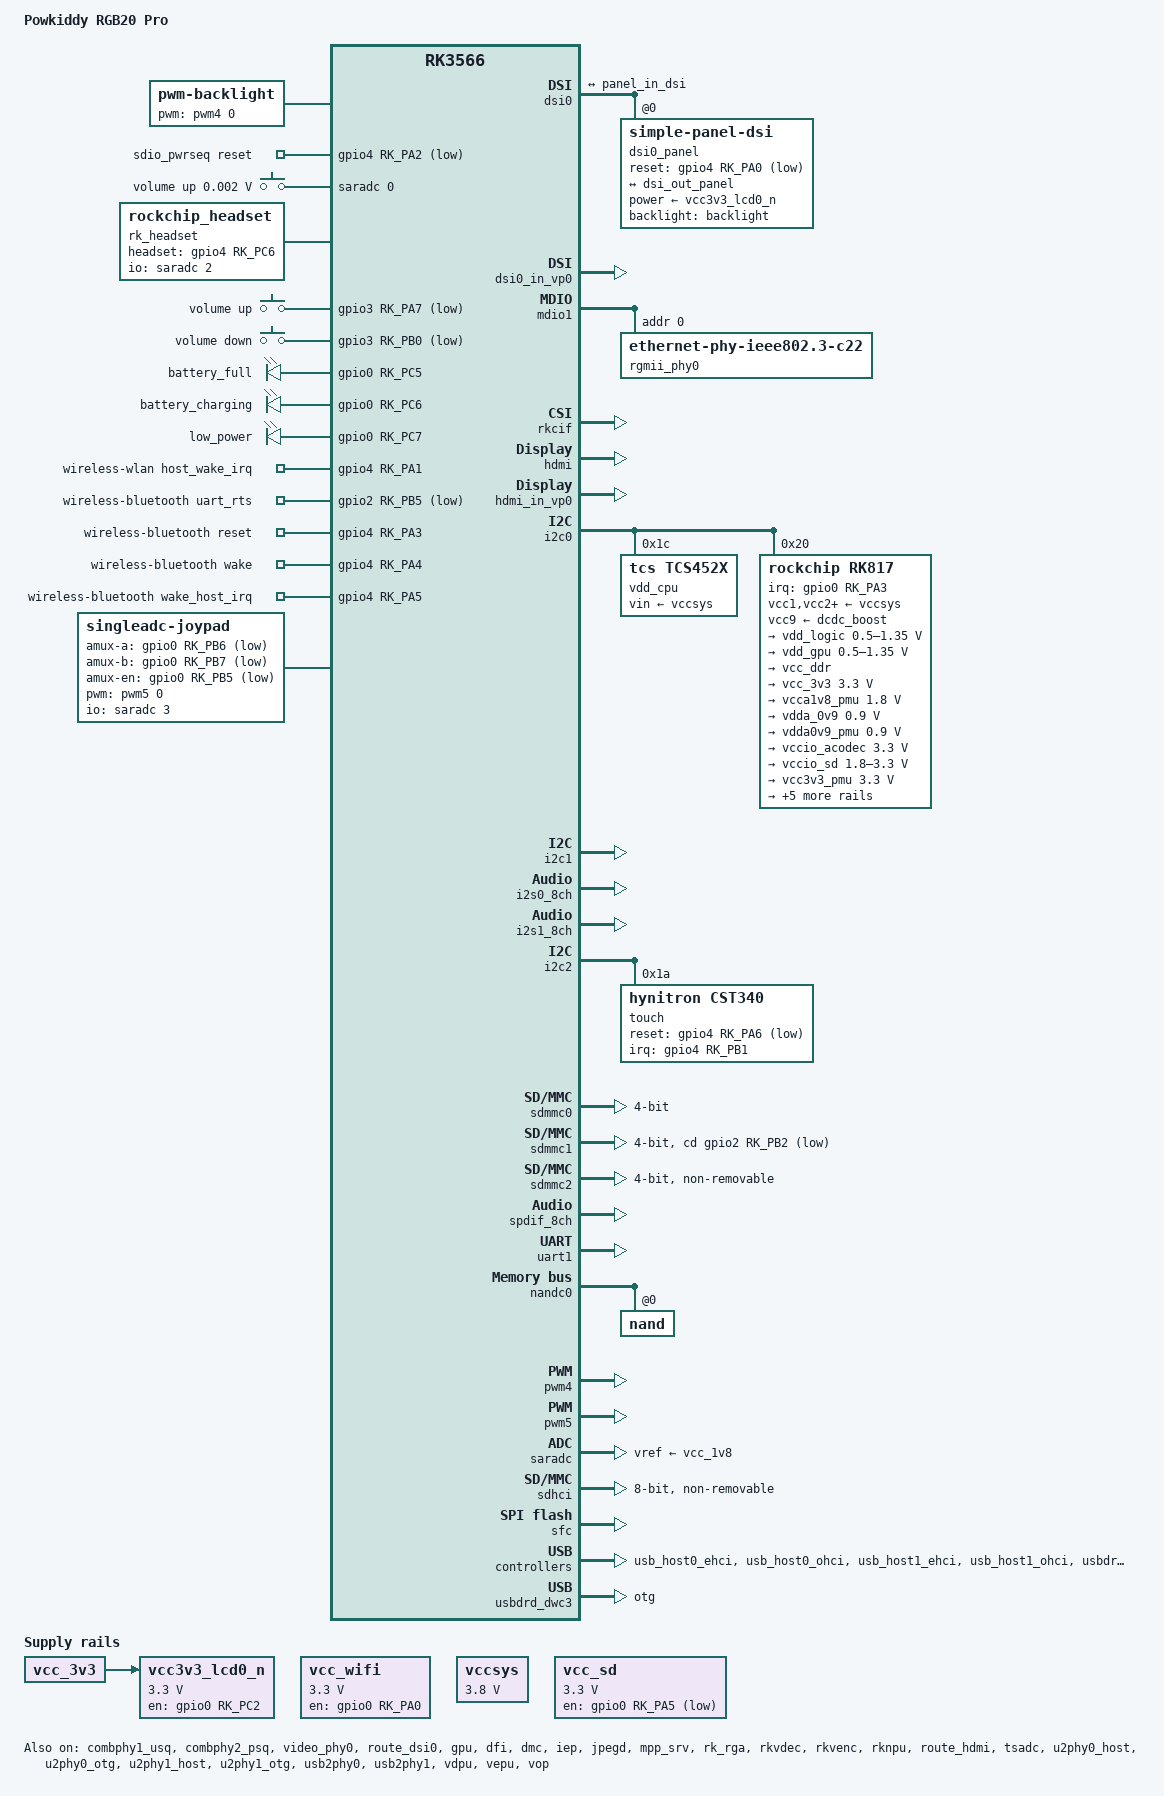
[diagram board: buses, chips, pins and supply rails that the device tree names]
// SPDX-License-Identifier: (GPL-2.0+ OR MIT)
/*
 * Copyright (c) 2020 Rockchip Electronics Co., Ltd.
 *
 */

/dts-v1/;
#include <dt-bindings/pwm/pwm.h>
#include <dt-bindings/input/rk-input.h>
#include <dt-bindings/display/drm_mipi_dsi.h>
#include <dt-bindings/sensor-dev.h>
#include <dt-bindings/gpio/gpio.h>
#include <dt-bindings/display/media-bus-format.h>
#include <dt-bindings/pinctrl/rockchip.h>
#include "rk3566.dtsi"
#include "rk3568-linux.dtsi"
/ {
	model = "Powkiddy RGB20 Pro";
	compatible = "powkiddy,rgb20-pro", "rockchip,rk3566";

	audiopwmout_diff: audiopwmout-diff {
		status = "disabled";
		compatible = "simple-audio-card";
		simple-audio-card,format = "i2s";
		simple-audio-card,name = "rockchip,audiopwmout-diff";
		simple-audio-card,mclk-fs = <256>;
		simple-audio-card,bitclock-master = <&master>;
		simple-audio-card,frame-master = <&master>;
		simple-audio-card,cpu {
			sound-dai = <&i2s3_2ch>;
		};
		master: simple-audio-card,codec {
			sound-dai = <&dig_acodec>;
		};
	};

	backlight: backlight {
		compatible = "pwm-backlight";
		pwms = <&pwm4 0 25000 0>;
		brightness-levels = <
			  0   1   2   3   4   5   6   7
			  8   9  10  11  12  13  14  15
			 16  17  18  19  20  21  22  23
			 24  25  26  27  28  29  30  31
			 32  33  34  35  36  37  38  39
			 40  41  42  43  44  45  46  47
			 48  49  50  51  52  53  54  55
			 56  57  58  59  60  61  62  63
			 64  65  66  67  68  69  70  71
			 72  73  74  75  76  77  78  79
			 80  81  82  83  84  85  86  87
			 88  89  90  91  92  93  94  95
			 96  97  98  99 100 101 102 103
			104 105 106 107 108 109 110 111
			112 113 114 115 116 117 118 119
			120 121 122 123 124 125 126 127
			128 129 130 131 132 133 134 135
			136 137 138 139 140 141 142 143
			144 145 146 147 148 149 150 151
			152 153 154 155 156 157 158 159
			160 161 162 163 164 165 166 167
			168 169 170 171 172 173 174 175
			176 177 178 179 180 181 182 183
			184 185 186 187 188 189 190 191
			192 193 194 195 196 197 198 199
			200 201 202 203 204 205 206 207
			208 209 210 211 212 213 214 215
			216 217 218 219 220 221 222 223
			224 225 226 227 228 229 230 231
			232 233 234 235 236 237 238 239
			240 241 242 243 244 245 246 247
			248 249 250 251 252 253 254 255>;
		default-brightness-level = <200>;
	};

	charge-animation {
		compatible = "rockchip,uboot-charge";
		rockchip,uboot-charge-on = <1>; 
		rockchip,android-charge-on = <0>;
		rockchip,uboot-low-power-voltage = <3450>;
		rockchip,screen-on-voltage = <3400>;
		status = "okay";
	};

	hdmi_sound: hdmi-sound {
		compatible = "simple-audio-card";
		simple-audio-card,format = "i2s";
		simple-audio-card,mclk-fs = <128>;
		simple-audio-card,name = "rockchip,hdmi";
		//status = "disabled";
		status = "okay";

		simple-audio-card,cpu {
				sound-dai = <&i2s0_8ch>;
		};
		simple-audio-card,codec {
				sound-dai = <&hdmi>;
		};
	};

	pdmics: dummy-codec {
		status = "disabled";
		compatible = "rockchip,dummy-codec";
		#sound-dai-cells = <0>;
	};

	pdm_mic_array: pdm-mic-array {
		status = "disabled";
		compatible = "simple-audio-card";
		simple-audio-card,name = "rockchip,pdm-mic-array";
		simple-audio-card,cpu {
			sound-dai = <&pdm>;
		};
		simple-audio-card,codec {
			sound-dai = <&pdmics>;
		};
	};

	vcc_wifi: vcc-wifi {
		compatible = "regulator-gpio";
		enable-active-high;
		regulator-always-on;
		regulator-boot-on;		
		enable-gpio = <&gpio0 RK_PA0 GPIO_ACTIVE_HIGH>;
		regulator-min-microvolt = <3300000>;
		regulator-max-microvolt = <3300000>;
		states = <3300000 0x0
			3300000 0x1>;
		pinctrl-names = "default";
		pinctrl-0 = <&vcc_wifi_h>;
		regulator-name = "vcc_wifi";
	};

	rk817-sound {
		status = "okay";
		compatible = "simple-audio-card";
		simple-audio-card,format = "i2s";
		simple-audio-card,name = "rockchip,rk817-codec";
		simple-audio-card,mclk-fs = <256>;

		simple-audio-card,cpu {
			sound-dai = <&i2s1_8ch>;
		};
		simple-audio-card,codec {
			sound-dai = <&rk817_codec>;
		};
	};

	spdif-sound {
		status = "disabled";
		compatible = "simple-audio-card";
		simple-audio-card,name = "ROCKCHIP,SPDIF";
		simple-audio-card,cpu {
				sound-dai = <&spdif_8ch>;
		};
		simple-audio-card,codec {
				sound-dai = <&spdif_out>;
		};
	};

	spdif_out: spdif-out {
			status = "disabled";
			compatible = "linux,spdif-dit";
			#sound-dai-cells = <0>;
	};

	vad_sound: vad-sound {
		status = "disabled";
		compatible = "rockchip,multicodecs-card";
		rockchip,card-name = "rockchip,rk3568-vad";
		rockchip,cpu = <&i2s1_8ch>;
		rockchip,codec = <&rk817_codec>, <&vad>;
	};

	vccsys: vccsys {
		compatible = "regulator-fixed";
		regulator-name = "vcc3v8_sys";
		regulator-always-on;
		regulator-boot-on;
		regulator-min-microvolt = <3800000>;
		regulator-max-microvolt = <3800000>;
	};

	vcc3v3_lcd0_n: vcc3v3-lcd0-n {
		compatible = "regulator-fixed";
		regulator-name = "vcc3v3_lcd0_n";
		regulator-boot-on;
		regulator-min-microvolt = <3300000>;
		regulator-max-microvolt = <3300000>;
		enable-active-high;
		gpio = <&gpio0 RK_PC2 GPIO_ACTIVE_HIGH>;
		vin-supply = <&vcc_3v3>;

		regulator-state-mem {
			regulator-off-in-suspend;
		};
	};

	sdio_pwrseq: sdio-pwrseq {
		status = "okay";
		compatible = "mmc-pwrseq-simple";
		clocks = <&rk817 1>;
		clock-names = "ext_clock";
		pinctrl-names = "default";
		pinctrl-0 = <&wifi_enable_h>;

		/*
		 * On the module itself this is one of these (depending
		 * on the actual card populated):
		 * - SDIO_RESET_L_WL_REG_ON
		 * - PDN (power down when low)
		 */
		post-power-on-delay-ms = <200>;
		reset-gpios = <&gpio4 RK_PA2 GPIO_ACTIVE_LOW>;
	};

	vcc_sd: vcc-sd {
		status = "okay";
		compatible = "regulator-gpio";
		enable-active-low;
		enable-gpio = <&gpio0 RK_PA5 GPIO_ACTIVE_LOW>;
		regulator-min-microvolt = <3300000>;
		regulator-max-microvolt = <3300000>;
		pinctrl-names = "default";
		pinctrl-0 = <&vcc_sd_h>;
		regulator-name = "vcc_sd";
		states = <3300000 0x0
			3300000 0x1>;
	};

	adc_keys: adc-keys {
		compatible = "adc-keys";
		io-channels = <&saradc 0>;
		io-channel-names = "buttons";
		keyup-threshold-microvolt = <1800000>;
		poll-interval = <100>;

		vol-up-key {
			label = "volume up";
			linux,code = <BTN_MODE>;
			press-threshold-microvolt = <1750>;
		};
	};

	rk_headset: rk-headset {
		compatible = "rockchip_headset";
		headset_gpio = <&gpio4 RK_PC6 GPIO_ACTIVE_HIGH>;
		pinctrl-names = "default";
		pinctrl-0 = <&hp_det>;
		io-channels = <&saradc 2>;
	};

/*	vibrator {
		compatible = "rk-vibrator-gpio";
		vibrator-gpio = <&gpio0 RK_PC4 GPIO_ACTIVE_LOW>;
		status = "okay";
	};*/

	keys: gpio-keys {
		compatible = "gpio-keys";
		pinctrl-names = "default";
		pinctrl-0 = <&pwr_key>;
		autorepeat;
		vol-up-key {
			gpios = <&gpio3 RK_PA7 GPIO_ACTIVE_LOW>;
			linux,code = <115>;
			label = "volume up";
		};

		vol-down-key {
			gpios = <&gpio3 RK_PB0 GPIO_ACTIVE_LOW>;
			linux,code = <114>;
			label = "volume down";
		};

/*		power-key {
			wakeup-source;
			gpios = <&gpio0 5 GPIO_ACTIVE_LOW>;
			linux,code = <116>;
			label = "power";
		};
*/							
			
	};

        leds: gpio-leds {
                compatible = "gpio-leds";
                pinctrl-names = "default";
                pinctrl-0 =<&leds_gpio>;

                led@1 {
                        gpios = <&gpio0 RK_PC5 GPIO_ACTIVE_HIGH>;
                        label = "battery_full";
			default-state="on";
			retain-state-suspended;
                };

                led@2 {
                        gpios = <&gpio0 RK_PC6 GPIO_ACTIVE_HIGH>;
                        label = "battery_charging";
                        default-state = "off";
                        linux,default-trigger = "battery-charging";
                        retain-state-suspended;
                };
				
                led@3 {
                        gpios = <&gpio0 RK_PC7 GPIO_ACTIVE_HIGH>;
                        label = "low_power";
			default-state="off";
			retain-state-suspended;
                };			
	};

	wireless-wlan {
		compatible = "wlan-platdata";
		rockchip,grf = <&grf>;
		wifi_chip_type = "ap6330";
		pinctrl-names = "default";
		pinctrl-0 = <&wifi_host_wake_irq>;
		WIFI,host_wake_irq = <&gpio4 RK_PA1 GPIO_ACTIVE_HIGH>;
		//WIFI,poweren_gpio = <&gpio0 RK_PA0 GPIO_ACTIVE_HIGH>; /* GPIO0_a3 */
		keep_wifi_power_on;		
		status = "okay";
	};

	wireless-bluetooth {
		compatible = "bluetooth-platdata";
		clocks = <&rk817 1>;
		clock-names = "ext_clock";
		//wifi-bt-power-toggle;
		uart_rts_gpios = <&gpio2 RK_PB5 GPIO_ACTIVE_LOW>;
		pinctrl-names = "default", "rts_gpio";
		pinctrl-0 = <&uart1m1_rtsn>;
		pinctrl-1 = <&uart1_gpios>;
		BT,reset_gpio    = <&gpio4 RK_PA3 GPIO_ACTIVE_HIGH>;
		BT,wake_gpio     = <&gpio4 RK_PA4 GPIO_ACTIVE_HIGH>;
		BT,wake_host_irq = <&gpio4 RK_PA5 GPIO_ACTIVE_HIGH>;
		status = "okay";
	};
	
	joypad: singleadc-joypad {
		compatible = "singleadc-joypad";

		joypad-name = "retrogame_joypad";
		joypad-product = <0x1101>;
		joypad-revision = <0x0100>;

		status = "okay";

		/* rumble */
		pwms = <&pwm5 0 10000 0>;

		/* gpio pincontrol setup */
		pinctrl-names = "default";
		pinctrl-0 = <&btn_pins>;

		/* Analog mux define */
		io-channel-names = "amux_adc";
		io-channels = <&saradc 3>;

		/* adc mux channel count */
		amux-count = <4>;
		/* adc mux select(a,b) gpio */
		amux-a-gpios = <&gpio0 RK_PB6 GPIO_ACTIVE_LOW>;
		amux-b-gpios = <&gpio0 RK_PB7 GPIO_ACTIVE_LOW>;
		/* adc mux enable gpio */
		amux-en-gpios = <&gpio0 RK_PB5 GPIO_ACTIVE_LOW>;

		/* adc calculate scale */
		button-adc-scale = <2>;

		/* adc deadzone range  */
		button-adc-deadzone = <48>;

		/*
		  specifies fuzz value that is used to filter noise from
		  the event stream.
		*/
		button-adc-fuzz = <16>;
		button-adc-flat = <16>;

		/*
		  Analog Stick data tuning value(precent)
		  p = positive direction, n = negative direction
		  report value = (real_adc_data * tuning_value) / 100
		*/
		abs_x-p-tuning = <250>;
		abs_x-n-tuning = <250>;

		abs_y-p-tuning = <250>;
		abs_y-n-tuning = <250>;

		abs_rx-p-tuning = <250>;
		abs_rx-n-tuning = <250>;

		abs_ry-p-tuning = <250>;
		abs_ry-n-tuning = <250>;

		/* poll device interval (ms), adc read interval */
		poll-interval = <10>;

		/* gpio button auto repeat set value : default disable */
		/*
			autorepeat;
		*/
		sw1 {
		        gpios = <&gpio3 RK_PA3 GPIO_ACTIVE_LOW>;
		        label = "GPIO DPAD-UP";
		        linux,code = <BTN_DPAD_UP>;
		};
		sw2 {
		        gpios = <&gpio3 RK_PA4 GPIO_ACTIVE_LOW>;
		        label = "GPIO DPAD-DOWN";
		        linux,code = <BTN_DPAD_DOWN>;
		};
		sw3 {
		        gpios = <&gpio3 RK_PA6 GPIO_ACTIVE_LOW>;
		        label = "GPIO DPAD-LEFT";
		        linux,code = <BTN_DPAD_LEFT>;
		};
		sw4 {
		        gpios = <&gpio3 RK_PA5 GPIO_ACTIVE_LOW>;
		        label = "GPIO DPAD-RIGHT";
		        linux,code = <BTN_DPAD_RIGHT>;
		};
		sw5 {
		        gpios = <&gpio3 RK_PC3 GPIO_ACTIVE_LOW>;
		        label = "GPIO KEY BTN-A";
		        linux,code = <BTN_SOUTH>;
		};
		sw6 {
		        gpios = <&gpio3 RK_PC2 GPIO_ACTIVE_LOW>;
		        label = "GPIO BTN-B";
		        linux,code = <BTN_EAST>;
		};
		sw7 {
		        gpios = <&gpio3 RK_PC0 GPIO_ACTIVE_LOW>;
		        label = "GPIO BTN-X";
		        linux,code = <BTN_NORTH>;
		};
		sw8 {
		        gpios = <&gpio3 RK_PC1 GPIO_ACTIVE_LOW>;
		        label = "GPIO BTN-Y";
		        linux,code = <BTN_WEST>;
		};
		sw9 {
		        gpios = <&gpio3 RK_PB6 GPIO_ACTIVE_LOW>;
		        label = "GPIO BTN_SELECT";
		        linux,code = <BTN_SELECT>;
		};
		sw10 {
		        gpios = <&gpio3 RK_PB5 GPIO_ACTIVE_LOW>;
		        label = "GPIO BTN_START";
		        linux,code = <BTN_START>;
		};
		sw11 {
		        gpios = <&gpio3 RK_PB7 GPIO_ACTIVE_LOW>;
		        label = "GPIO BTN_F";
		        linux,code = <BTN_MODE>;
		};
		sw12 {
		        gpios = <&gpio3 RK_PB1 GPIO_ACTIVE_LOW>;
		        label = "GPIO BTN_TL";
		        linux,code = <BTN_TL>;
		};
		sw13 {
		        gpios = <&gpio3 RK_PB4 GPIO_ACTIVE_LOW>;
		        label = "GPIO BTN_TR2";
		        linux,code = <BTN_TR2>;
		};
		sw14 {
		        gpios = <&gpio3 RK_PB2 GPIO_ACTIVE_LOW>;
		        label = "GPIO BTN_TL2";
		        linux,code = <BTN_TL2>;
		};
		sw15 {
		        gpios = <&gpio3 RK_PB3 GPIO_ACTIVE_LOW>;
		        label = "GPIO BTN_TR";
		        linux,code = <BTN_TR>;
		};
		sw16 {
		        gpios = <&gpio3 RK_PA1 GPIO_ACTIVE_LOW>;
		        label = "GPIO BTN_THUMBL";
		        linux,code = <BTN_THUMBL>;
		};
		sw17 {
		        gpios = <&gpio3 RK_PA2 GPIO_ACTIVE_LOW>;
		        label = "GPIO BTN_THUMBR";
		        linux,code = <BTN_THUMBR>;
		};
	
    	};

	es8316-sound {
		status = "disabled";
		compatible = "simple-audio-card";
		simple-audio-card,format = "i2s";
		simple-audio-card,name = "ES8316";
		simple-audio-card,mclk-fs = <256>;
		simple-audio-card,widgets =
			"Microphone", "Mic Jack",
			"Headphone", "Headphone Jack";
		simple-audio-card,routing =
			"Mic Jack", "MICBIAS1",
			"IN1P", "Mic Jack",
			"Headphone Jack", "HPOL",
			"Headphone Jack", "HPOR";
		simple-audio-card,cpu {
			sound-dai = <&i2s1_8ch>;
			system-clock-frequency = <11289600>;
		};
		simple-audio-card,codec {
			sound-dai = <&es8316>;
			system-clock-frequency = <11289600>;
		};
	};
};

&combphy1_usq {
	status = "okay";
};

&combphy2_psq {
	status = "okay";
};

&csi2_dphy_hw {
	status = "disabled";
};

&csi2_dphy0 {
	status = "disabled";
};

&csi2_dphy1 {
	status = "disabled";
};

&csi2_dphy2 {
	status = "disabled";
};

/*
 * mipi_dphy0 needs to be enabled
 * when dsi0 is enabled
 */
&dsi0 {
	status = "okay";
	//rockchip,lane-rate = <1000>;
	dsi0_panel: panel@0 {
		status = "okay";
		compatible = "simple-panel-dsi";
		reg = <0>;
		backlight = <&backlight>;
		//power-supply = <&vcc_lcd>;
		//gpio = <&gpio0 RK_PC2 GPIO_ACTIVE_HIGH>;
		//reset-gpios = <&gpio0 RK_PA6 GPIO_ACTIVE_LOW>;
		reset-delay-ms = <150>;
		init-delay-ms = <36>; 
		enable-delay-ms = <36>;
		prepare-delay-ms = <200>;
		unprepare-delay-ms = <36>;
		disable-delay-ms = <50>;
		dsi,flags = <(MIPI_DSI_MODE_VIDEO           |
			      MIPI_DSI_MODE_VIDEO_BURST     |
			      MIPI_DSI_MODE_LPM             |
			      MIPI_DSI_MODE_EOT_PACKET)>;
		dsi,format = <MIPI_DSI_FMT_RGB888>;
		dsi,lanes  = <4>;
		panel-init-sequence = [
            39 00 04 df 91
            68 f9 39 00 02
            de 00 39 00 03
            b2 00 7e 39 00
            03 b3 00 7e 39
            00 07 c1 00 10
            00 00 00 00 39
            00 08 bb 02 24
            07 61 19 44 44
            39 00 03 be 1a
            f2 39 00 0f c3
            10 17 5a 17 5a
            05 05 05 05 15
            15 31 05 df 39
            00 08 c4 11 80
            00 df 09 06 14
            39 00 18 ce 00
            03 03 03 03 03
            03 03 03 03 03
            03 03 03 03 03
            03 03 03 03 03
            0f 03 39 00 0a
            cf 00 01 40 01
            ca 01 ca 01 ca
            39 00 18 d0 00
            1f 1f 1f 1f 1f
            1f 1f 1f 1f 1f
            03 01 05 07 09
            0b 1e 15 1f 1f
            15 1f 39 00 18
            d1 00 1f 1f 1f
            1f 1f 1f 1f 1f
            1f 1f 02 00 04
            06 08 0a 1e 15
            1f 1f 15 1f 39
            00 18 d2 00 1f
            1f 1f 1f 1f 1f
            1f 1f 1f 1f 00
            02 0a 08 06 04
            1f 15 1f 1f 15
            1e 39 00 18 d3
            00 1f 1f 1f 1f
            1f 1f 1f 1f 1f
            1f 01 03 0b 09
            07 05 1f 15 1f
            1f 15 1e 39 00
            26 d4 30 00 00
            04 00 06 00 00
            00 00 00 03 03
            00 11 00 01 c0
            04 01 01 11 80
            01 c0 05 01 01
            00 00 00 04 00
            06 18 02 e3 39
            00 09 d5 68 73
            00 08 08 00 03
            00 39 00 07 b7
            00 d8 00 00 d8
            00 39 00 27 c8
            7f 69 5a 4e 4a
            3b 40 2a 44 43
            44 63 51 59 4c
            48 3a 28 0f 7f
            69 5a 4e 4a 3b
            40 2a 44 43 44
            63 51 59 4c 48
            3a 28 0f 39 00
            02 de 02 39 00
            05 bb 00 5b 5c
            41 39 00 04 b5
            00 5a 0a 39 00
            02 c6 22 39 00
            02 d7 12 39 00
            02 de 00 39 00
            02 35 00 05 fa
            01 11 05 fa 01
            29
		];

		panel-exit-sequence = [
			05 14 01 28
			05 0A 01 10
		];

		disp_timings0: display-timings {
			native-mode = <&dsi0_timing0>;
			dsi0_timing0: timing0 {
				clock-frequency = <51072000>;
				hactive = <1024>;
				vactive = <768>;
				hfront-porch = <20>;
				hsync-len = <4>;
				hback-porch = <20>;
				vfront-porch = <15>;
				vsync-len = <3>;
				vback-porch = <11>;			
				hsync-active = <0>;
				vsync-active = <0>;
				de-active = <0>;
				pixelclk-active = <0>;
			};
		};

		ports {
			#address-cells = <1>;
			#size-cells = <0>;

			port@0 {
				reg = <0>;
				panel_in_dsi: endpoint {
					remote-endpoint = <&dsi_out_panel>;
				};
			};
		};
	};

	ports {
		#address-cells = <1>;
		#size-cells = <0>;

		port@1 {
			reg = <1>;
			dsi_out_panel: endpoint {
				remote-endpoint = <&panel_in_dsi>;
			};
		};
	};
};


&dsi0_in_vp0 {
	status = "okay";
};

&dsi0_in_vp1 {
	status = "disabled";
};

&dsi0_panel {
	power-supply = <&vcc3v3_lcd0_n>;
	reset-gpios = <&gpio4 RK_PA0 GPIO_ACTIVE_LOW>;
	pinctrl-names = "default";
	pinctrl-0 = <&lcd0_rst_gpio>;
};


/*
 * mipi_dphy1 needs to be enabled
 * when dsi1 is enabled
 */
&dsi1 {
	status = "disabled";
};

&dsi1_in_vp0 {
	status = "disabled";
};

&dsi1_in_vp1 {
	status = "disabled";
};

&mdio1 {
	rgmii_phy0: phy@0 {
		compatible = "ethernet-phy-ieee802.3-c22";
		reg = <0x0>;
	};
};

&video_phy0 {
	status = "okay";
};

&video_phy1 {
	status = "disabled";
};

&rkcif {
	status = "okay";
};

&rkcif_dvp {
	status = "disabled";

	port {
		/* Parallel bus endpoint */
		dvp_in_bcam: endpoint {
			remote-endpoint = <&gc2145_out>;
			bus-width = <8>;
			vsync-active = <0>;
			hsync-active = <1>;
		};
	};
};

&route_dsi0 {
	status = "okay";
	connect = <&vp0_out_dsi0>;
};

&gpu {
	mali-supply = <&vdd_gpu>;
	mem-supply = <&vdd_gpu>;
	status = "okay";
	operating-points-v2 = <&gpu_opp_table>;
};

&hdmi {
	status = "okay";
	//status = "disabled";
	rockchip,phy-table =
		<92812500  0x8009 0x0000 0x0270>,
		<165000000 0x800b 0x0000 0x026d>,
		<185625000 0x800b 0x0000 0x01ed>,
		<297000000 0x800b 0x0000 0x01ad>,
		<594000000 0x8029 0x0000 0x0088>,
		<000000000 0x0000 0x0000 0x0000>;
};

&hdmi_in_vp0 {
	status = "okay";
};

&hdmi_in_vp1 {
	status = "disabled";
};

&hdmi_sound {
	status = "okay";
	//status = "disabled";
};

&i2c0 {
	status = "okay";

	/*cw2015@62 { 
	  compatible = "cellwise,cw2015";
	  reg = <0x62>;
	 };*/

	vdd_cpu: tcs4525@1c {
		compatible = "tcs,tcs452x";
		reg = <0x1c>;
		vin-supply = <&vccsys>;
		regulator-compatible = "fan53555-reg";
		regulator-name = "vdd_cpu";
		regulator-min-microvolt = <712500>;
		regulator-max-microvolt = <1390000>;
		regulator-init-microvolt = <900000>;
		regulator-ramp-delay = <2300>;
		fcs,suspend-voltage-selector = <1>;
		regulator-boot-on;
		regulator-always-on;
		regulator-state-mem {
			regulator-off-in-suspend;
		};
	};

	rk817: pmic@20 {
		compatible = "rockchip,rk817";
		reg = <0x20>;
		interrupt-parent = <&gpio0>;
		interrupts = <RK_PA3 IRQ_TYPE_LEVEL_LOW>;

		pinctrl-names = "default", "pmic-sleep",
				"pmic-power-off", "pmic-reset";
		pinctrl-0 = <&pmic_int>;
		pinctrl-1 = <&soc_slppin_slp>, <&rk817_slppin_slp>;
		pinctrl-2 = <&soc_slppin_gpio>, <&rk817_slppin_pwrdn>;
		pinctrl-3 = <&soc_slppin_gpio>, <&rk817_slppin_rst>;

		rockchip,system-power-controller;
		wakeup-source;
		#clock-cells = <1>;
		clock-output-names = "rk808-clkout1", "rk808-clkout2";
		//fb-inner-reg-idxs = <2>;
		/* 1: rst regs (default in codes), 0: rst the pmic */
		pmic-reset-func = <0>;
		/* not save the PMIC_POWER_EN register in uboot */
		not-save-power-en = <1>;

		vcc1-supply = <&vccsys>;
		vcc2-supply = <&vccsys>;
		vcc3-supply = <&vccsys>;
		vcc4-supply = <&vccsys>;
		vcc5-supply = <&vccsys>;
		vcc6-supply = <&vccsys>;
		vcc7-supply = <&vccsys>;
		vcc8-supply = <&vccsys>;
		vcc9-supply = <&dcdc_boost>;

		pwrkey {
			status = "okay";
		};

		pinctrl_rk8xx: pinctrl_rk8xx {
			gpio-controller;
			#gpio-cells = <2>;

			rk817_slppin_null: rk817_slppin_null {
				pins = "gpio_slp";
				function = "pin_fun0";
			};

			rk817_slppin_slp: rk817_slppin_slp {
				pins = "gpio_slp";
				function = "pin_fun1";
			};

			rk817_slppin_pwrdn: rk817_slppin_pwrdn {
				pins = "gpio_slp";
				function = "pin_fun2";
			};

			rk817_slppin_rst: rk817_slppin_rst {
				pins = "gpio_slp";
				function = "pin_fun3";
			};
		};

		regulators {
			vdd_logic: DCDC_REG1 {
				regulator-always-on;
				regulator-boot-on;
				regulator-min-microvolt = <500000>;
				regulator-max-microvolt = <1350000>;
				regulator-init-microvolt = <900000>;
				regulator-ramp-delay = <6001>;
				regulator-initial-mode = <0x2>;
				regulator-name = "vdd_logic";
				regulator-state-mem {
					regulator-off-in-suspend;
					regulator-suspend-microvolt = <900000>;
				};
			};

			vdd_gpu: DCDC_REG2 {
				regulator-always-on;
				regulator-boot-on;
				regulator-min-microvolt = <500000>;
				regulator-max-microvolt = <1350000>;
				//regulator-init-microvolt = <900000>;
				regulator-ramp-delay = <6001>;
				regulator-initial-mode = <0x2>;
				regulator-name = "vdd_gpu";
				regulator-state-mem {
					regulator-off-in-suspend;
				};
			};

			vcc_ddr: DCDC_REG3 {
				regulator-always-on;
				regulator-boot-on;
				regulator-initial-mode = <0x2>;
				regulator-name = "vcc_ddr";
				regulator-state-mem {
					regulator-on-in-suspend;
				};
			};

			vcc_3v3: DCDC_REG4 {
				regulator-always-on;
				regulator-boot-on;
				regulator-min-microvolt = <3300000>;
				regulator-max-microvolt = <3300000>;
				regulator-initial-mode = <0x2>;
				regulator-name = "vcc_3v3";
				regulator-state-mem {
					regulator-on-in-suspend;
					regulator-suspend-microvolt = <3300000>;
				};
			};

			vcca1v8_pmu: LDO_REG1 {
				regulator-always-on;
				regulator-boot-on;
				regulator-min-microvolt = <1800000>;
				regulator-max-microvolt = <1800000>;
				regulator-name = "vcca1v8_pmu";
				regulator-state-mem {
					regulator-on-in-suspend;
					regulator-suspend-microvolt = <1800000>;
				};
			};

			vdda_0v9: LDO_REG2 {
				regulator-always-on;
				regulator-boot-on;
				regulator-min-microvolt = <900000>;
				regulator-max-microvolt = <900000>;
				regulator-name = "vdda_0v9";
				regulator-state-mem {
					regulator-off-in-suspend;
				};
			};

			vdda0v9_pmu: LDO_REG3 {
				regulator-always-on;
				regulator-boot-on;
				regulator-min-microvolt = <900000>;
				regulator-max-microvolt = <900000>;
				regulator-name = "vdda0v9_pmu";
				regulator-state-mem {
					regulator-on-in-suspend;
					regulator-suspend-microvolt = <900000>;
				};
			};

			vccio_acodec: LDO_REG4 {
				regulator-always-on;
				regulator-boot-on;
				regulator-min-microvolt = <3300000>;
				regulator-max-microvolt = <3300000>;
				regulator-name = "vccio_acodec";
				regulator-state-mem {
					regulator-off-in-suspend;
				};
			};

			vccio_sd: LDO_REG5 {
				regulator-always-on;
				regulator-boot-on;
				regulator-min-microvolt = <1800000>;
				regulator-max-microvolt = <3300000>;
				regulator-name = "vccio_sd";
				regulator-state-mem {
					regulator-off-in-suspend;
				};
			};

			vcc3v3_pmu: LDO_REG6 {
				regulator-always-on;
				regulator-boot-on;
				regulator-min-microvolt = <3300000>;
				regulator-max-microvolt = <3300000>;
				regulator-name = "vcc3v3_pmu";
				regulator-state-mem {
					regulator-on-in-suspend;
					regulator-suspend-microvolt = <3000000>;
				};
			};

			vcc_1v8: LDO_REG7 {
				regulator-always-on;
				regulator-boot-on;
				regulator-min-microvolt = <1800000>;
				regulator-max-microvolt = <1800000>;
				regulator-name = "vcc_1v8";
				regulator-state-mem {
					regulator-off-in-suspend;
				};
			};

			vcc1v8_dvp: LDO_REG8 {
				regulator-always-on;
				regulator-boot-on;
				regulator-min-microvolt = <1800000>;
				regulator-max-microvolt = <3300000>;
				regulator-name = "vcc1v8_dvp";
				regulator-state-mem {
					regulator-off-in-suspend;
				};
			};

			vcc2v8_dvp: LDO_REG9 {
				regulator-always-on;
				regulator-boot-on;
				regulator-min-microvolt = <2800000>;
				regulator-max-microvolt = <2800000>;
				regulator-name = "vcc2v8_dvp";
				regulator-state-mem {
					regulator-off-in-suspend;
				};
			};

			dcdc_boost: BOOST {
				regulator-always-on;
				regulator-boot-on;
				regulator-min-microvolt = <4700000>;
				regulator-max-microvolt = <5400000>;
				regulator-name = "boost";
				regulator-state-mem {
					regulator-off-in-suspend;
				};
			};

			otg_switch: OTG_SWITCH {
				regulator-name = "otg_switch";
				regulator-state-mem {
					regulator-off-in-suspend;
				};
			};

		};

		battery {
		   compatible = "rk817,battery";
		   ocv_table = <3400 3438 3479 3519 3550 3578 3598
				3613 3629 3647 3672 3713 3762 3807
				3852 3895 3939 3990 4035 4092 4172>;
		   design_capacity = <3151>;
		   design_qmax = <3465>;
		   bat_res = <117>;
		   sleep_enter_current = <300>;
		   sleep_exit_current = <300>;
		   sleep_filter_current = <100>;
		   power_off_thresd = <3400>;
		   zero_algorithm_vol = <3850>;
		   max_soc_offset = <60>;
		   monitor_sec = <5>;
		   sample_res = <10>;
		   virtual_power = <0>;
		};

		charger {
			compatible = "rk817,charger";
			min_input_voltage = <4500>;
			max_input_current = <1500>;
			max_chrg_current = <2000>;
			max_chrg_voltage = <4250>;
			chrg_term_mode = <0>;
			chrg_finish_cur = <300>;
			virtual_power = <0>;
			dc_det_adc = <0>;
			extcon = <&usb2phy0>;
		};

		rk817_codec: codec {
			#sound-dai-cells = <0>;
			compatible = "rockchip,rk817-codec";
			clocks = <&cru I2S1_MCLKOUT>;
			clock-names = "mclk";
			assigned-clocks = <&cru I2S1_MCLKOUT>, <&cru I2S1_MCLK_TX_IOE>;
			assigned-clock-rates = <12288000>;
			assigned-clock-parents = <&cru I2S1_MCLKOUT_TX>, <&cru I2S1_MCLKOUT_TX>;
			pinctrl-names = "default";
			pinctrl-0 = <&i2s1m0_mclk>;
			hp-volume = <20>;
			spk-volume = <3>;
			out-l2spk-r2hp;
			
			spk-ctl-gpios = <&gpio4 RK_PC2 GPIO_ACTIVE_HIGH>;
			status = "okay";
		};
	};
	es8316: es8316@10 {
	        status = "disabled";
		#sound-dai-cells = <0>;
		compatible = "everest,es8316";
		reg = <0x10>;
		clocks = <&cru I2S1_MCLKOUT>;
		clock-names = "mclk";
		assigned-clocks = <&cru I2S1_MCLKOUT>, <&cru I2S1_MCLK_TX_IOE>;
		assigned-clock-rates = <11289600>;
		assigned-clock-parents = <&cru I2S1_MCLKOUT_TX>, <&cru I2S1_MCLKOUT_TX>;
		pinctrl-names = "default";
		pinctrl-0 = <&i2s1m0_mclk>;
		hp-det-gpio = <&gpio4 RK_PC6 GPIO_ACTIVE_HIGH>;		
		spk-con-gpio = <&gpio4 RK_PC2 GPIO_ACTIVE_HIGH>;
	};
};

&i2c1 {
	status = "okay";
};

&i2c5 {
	status = "disabled";
};

&i2s0_8ch {
	status = "okay";
};

&i2s1_8ch {
	status = "okay";
	rockchip,clk-trcm = <1>;
	pinctrl-names = "default";
	pinctrl-0 = <&i2s1m0_sclktx
		     &i2s1m0_lrcktx
		     &i2s1m0_sdi0
		     &i2s1m0_sdo0>;
};

/*&i2c2 {
 status = "okay";
 pinctrl-0 = <&i2c2m1_xfer>;
};*/

&i2c2 {
	pintctrl-names = "default";
	pinctrl-0 = <&i2c2m1_xfer>;
	status = "okay";

	touch@1a {
		compatible = "hynitron,cst340";
		reg = <0x1a>;
		interrupt-parent = <&gpio4>;
		interrupts = <RK_PB1 IRQ_TYPE_EDGE_FALLING>;
		pinctrl-0 = <&touch_gpio>;
		pinctrl-names = "default";
		reset-gpios = <&gpio4 RK_PA6 GPIO_ACTIVE_LOW>;
		touchscreen-size-x = <640>;
		touchscreen-size-y = <480>;
	};
};

&i2c4 {
	/* i2c4 sda conflict with camera pwdn */
	status = "disabled";

	/*
	 * gc2145 needs to be disabled,
	 * when gmac1 is enabled;
	 * pinctrl conflicts;
	 */
	gc2145: gc2145@3c {
		status = "disabled";
		compatible = "galaxycore,gc2145";
		reg = <0x3c>;
		clocks = <&cru CLK_CIF_OUT>;
		clock-names = "xvclk";
		power-domains = <&power RK3568_PD_VI>;
		pinctrl-names = "default";
		/* conflict with gmac1m1_rgmii_pins & cif_clk*/
		pinctrl-0 = <&cif_clk &cif_dvp_clk &cif_dvp_bus16>;

		/*avdd-supply = <&vcc2v8_dvp>;*/
		/*dovdd-supply = <&vcc1v8_dvp>;*/
		/*dvdd-supply = <&vcc1v8_dvp>;*/

		/*reset-gpios = <&gpio3 RK_PB5 GPIO_ACTIVE_LOW>;*/
		pwdn-gpios = <&gpio4 RK_PA6 GPIO_ACTIVE_HIGH>;
		rockchip,camera-module-index = <0>;
		rockchip,camera-module-facing = "back";
		rockchip,camera-module-name = "CameraKing";
		rockchip,camera-module-lens-name = "Largan";
		port {
			gc2145_out: endpoint {
				remote-endpoint = <&dvp_in_bcam>;
			};
		};
	};
};

&sdmmc0 {
	//clock-frequency = <50000000>;
	max-frequency = <150000000>;
	supports-sd;
	bus-width = <4>;
	disable-wp;
	cap-mmc-highspeed;
	cap-sd-highspeed;	
	sd-uhs-sdr12;
	sd-uhs-sdr25;
	sd-uhs-sdr50;
	sd-uhs-sdr104;
	vqmmc-supply = <&vccio_sd>;
	pinctrl-names = "default";
	pinctrl-0 = <&sdmmc0_bus4 &sdmmc0_clk &sdmmc0_cmd &sdmmc0_det>;
	status = "okay";
};

&sdmmc1 {
	max-frequency = <150000000>;
	supports-sd;
	bus-width = <4>;
	disable-wp;
	cap-mmc-highspeed;
	cap-sd-highspeed;
	keep-power-in-suspend;	
//	mmc-pwrseq = <&sdio_pwrseq>;
//	non-removable;
	card-detect-delay = <800>;
	cd-gpios = <&gpio2 RK_PB2 GPIO_ACTIVE_LOW>; /*[> CD GPIO <]*/
	vqmmc-supply = <&vcc1v8_dvp>;	
	pinctrl-names = "default";
	pinctrl-0 = <&sdmmc1_bus4 &sdmmc1_cmd &sdmmc1_clk>;
	sd-uhs-sdr12;
	sd-uhs-sdr25;
	sd-uhs-sdr50;
	sd-uhs-sdr104;
//	rockchip,default-sample-phase = <90>;
	status = "okay";
};

&sdmmc2 {
	max-frequency = <100000000>;
	supports-sdio;
	bus-width = <4>;
	disable-wp;
	cap-sd-highspeed;
	cap-sdio-irq;
	keep-power-in-suspend;
	mmc-pwrseq = <&sdio_pwrseq>;
	non-removable;
	pinctrl-names = "default";
	pinctrl-0 = <&sdmmc2m0_bus4 &sdmmc2m0_cmd &sdmmc2m0_clk>;
	sd-uhs-sdr104;
	rockchip,default-sample-phase = <90>;
	status = "okay";
};

&spdif_8ch {
	status = "okay";
	pinctrl-names = "default";
	pinctrl-0 = <&spdifm1_tx>;
};

&uart1 {
	status = "okay";
	pinctrl-names = "default";
	pinctrl-0 = <&uart1m1_xfer &uart1m1_ctsn>;
};

&can0 {
	assigned-clocks = <&cru CLK_CAN0>;
	assigned-clock-rates = <150000000>;
	pinctrl-names = "default";
	pinctrl-0 = <&can0m1_pins>;
	status = "disabled";
};

&can1 {
	assigned-clocks = <&cru CLK_CAN1>;
	assigned-clock-rates = <150000000>;
	pinctrl-names = "default";
	pinctrl-0 = <&can1m1_pins>;
	status = "disabled";
};

&can2 {
	assigned-clocks = <&cru CLK_CAN2>;
	assigned-clock-rates = <150000000>;
	pinctrl-names = "default";
	pinctrl-0 = <&can2m1_pins>;
	status = "disabled";
};

&cpu0 {
	cpu-supply = <&vdd_cpu>;
};

&cpu1 {
	cpu-supply = <&vdd_cpu>;
};

&cpu2 {
	cpu-supply = <&vdd_cpu>;
};

&cpu3 {
	cpu-supply = <&vdd_cpu>;
};

&dfi {
	status = "okay";
};

&dmc {
	operating-points-v2 = <&dmc_opp_table>;
	center-supply = <&vdd_logic>;
	status = "okay";
};

&iep {
	status = "okay";
};

&iep_mmu {
	status = "okay";
};

&jpegd {
	status = "okay";
};

&jpegd_mmu {
	status = "okay";
};

&mpp_srv {
	status = "okay";
};

&nandc0 {
	#address-cells = <1>;
	#size-cells = <0>;
	status = "okay";

	nand@0 {
		reg = <0>;
		nand-bus-width = <8>;
		nand-ecc-mode = "hw";
		nand-ecc-strength = <16>;
		nand-ecc-step-size = <1024>;
	};
};

&pmu_io_domains {
	status = "okay";
	pmuio1-supply = <&vcc3v3_pmu>;
	pmuio2-supply = <&vcc3v3_pmu>;
	vccio1-supply = <&vccio_acodec>;
	vccio3-supply = <&vccio_sd>;
	vccio4-supply = <&vcc_1v8>;
	vccio5-supply = <&vcc_3v3>;
	vccio6-supply = <&vcc_1v8>;
	vccio7-supply = <&vcc_3v3>;
};

&pwm4 {
	status = "okay";
};

&pwm5 {
	status = "okay";
};

&rk_rga {
	status = "okay";
};

&rkvdec {
	status = "okay";
};

&rkvdec_mmu {
	status = "okay";
};

&rkvenc {
	venc-supply = <&vdd_logic>;
	status = "okay";
};

&rkvenc_mmu {
	status = "okay";
};

&rknpu {
	rknpu-supply = <&vdd_gpu>;
	status = "okay";
};

&rknpu_mmu {
	status = "okay";
};

&route_hdmi {
	status = "okay";
	connect = <&vp0_out_hdmi>;
};

&saradc {
	status = "okay";
	vref-supply = <&vcc_1v8>;
};

&sdhci {
	bus-width = <8>;
	supports-emmc;
	non-removable;
	max-frequency = <200000000>;
	status = "okay";
};

&sfc {
	status = "okay";
};

&tsadc {
	status = "okay";
};

&u2phy0_host {
//	phy-supply = <&vcc5v0_host>;
	status = "okay";
};

&u2phy0_otg {
//	vbus-supply = <&vcc5v0_otg>;
	status = "okay";
};

&u2phy1_host {
//	phy-supply = <&vcc5v0_host>;
	status = "okay";
};

&u2phy1_otg {
//	phy-supply = <&vcc5v0_host>;
	status = "okay";
};

&usb2phy0 {
	status = "okay";
};

&usb2phy1 {
	status = "okay";
};

&usb_host0_ehci {
	status = "okay";
};

&usb_host0_ohci {
	status = "okay";
};

&usb_host1_ehci {
	status = "okay";
};

&usb_host1_ohci {
	status = "okay";
};

&usbdrd_dwc3 {
	dr_mode = "otg";
	extcon = <&usb2phy0>;
	status = "okay";
};

&usbdrd30 {
	status = "okay";
};

&usbhost_dwc3 {
	status = "okay";
};

&usbhost30 {
	status = "okay";
};

&vad {
	rockchip,audio-src = <&i2s1_8ch>;
	rockchip,buffer-time-ms = <128>;
	rockchip,det-channel = <0>;
	rockchip,mode = <0>;
};

&vdpu {
	status = "okay";
};

&vdpu_mmu {
	status = "okay";
};

&vepu {
	status = "okay";
};

&vepu_mmu {
	status = "okay";
};

&vop {
	status = "okay";
	assigned-clocks = <&cru DCLK_VOP0>, <&cru DCLK_VOP1>;
	assigned-clock-parents = <&pmucru PLL_HPLL>, <&cru PLL_VPLL>;
};

&vop_mmu {
	status = "okay";
};

&pinctrl {
	
	headphone {
		hp_det: hp-det {
			rockchip,pins = <4 RK_PC6 RK_FUNC_GPIO &pcfg_pull_none>;
		};
	};

	sdio-pwrseq {
		wifi_enable_h: wifi-enable-h {
			rockchip,pins = <4 RK_PA2 RK_FUNC_GPIO &pcfg_pull_none>;
		};
	};

	power-wlan-bt {
		vcc_wifi_h: vcc-wifi-h {
			rockchip,pins = <0 RK_PA0 RK_FUNC_GPIO &pcfg_pull_none>;
		};
	};
	
	wireless-wlan {
		wifi_host_wake_irq: wifi-host-wake-irq {
			rockchip,pins = <4 RK_PA1 RK_FUNC_GPIO &pcfg_pull_down>;
		};
	};

	wireless-bluetooth {
		uart1_gpios: uart1-gpios {
			rockchip,pins = <4 RK_PB6 RK_FUNC_GPIO &pcfg_pull_none>;
		};
	};

        gpio-leds {
		leds_gpio: leds-gpio {
			rockchip,pins =
				<0 RK_PC5 RK_FUNC_GPIO &pcfg_pull_none>,
				<0 RK_PC6 RK_FUNC_GPIO &pcfg_pull_none>,
				<0 RK_PC7 RK_FUNC_GPIO &pcfg_pull_none>;
		};
	};

	lcd0 {
		lcd0_rst_gpio: lcd0-rst-gpio {
			rockchip,pins = <4 RK_PA0 RK_FUNC_GPIO &pcfg_pull_none>;
		};
	};

	pmic {
		pmic_int: pmic_int {
			rockchip,pins =
				<0 RK_PA3 RK_FUNC_GPIO &pcfg_pull_up>;
		};

		soc_slppin_gpio: soc_slppin_gpio {
			rockchip,pins =
				<0 RK_PA2 RK_FUNC_GPIO &pcfg_output_low>;
		};

		soc_slppin_slp: soc_slppin_slp {
			rockchip,pins =
				<0 RK_PA2 1 &pcfg_pull_up>;
		};

		soc_slppin_rst: soc_slppin_rst {
			rockchip,pins =
				<0 RK_PA2 2 &pcfg_pull_none>;
		};
	};

	touch {
		touch_gpio: touch-gpio {
		   rockchip,pins = <4 RK_PA6 RK_FUNC_GPIO &pcfg_pull_up>;
		     
		};
		touch_gt_gpio: touch-gt-gpio {
		   rockchip,pins = <4 RK_PB1 RK_FUNC_GPIO &pcfg_pull_up>;    
		}; 
	};

	vcc-sd {
		vcc_sd_h: vcc-sd-h {
			rockchip,pins = <0 RK_PA5 RK_FUNC_GPIO &pcfg_pull_none>;
		};
	};

	btns {
		btn_pins: btn-pins {
			rockchip,pins = 
					<3 RK_PA0 RK_FUNC_GPIO &pcfg_pull_up>,
					<3 RK_PA1 RK_FUNC_GPIO &pcfg_pull_up>,
					<3 RK_PA2 RK_FUNC_GPIO &pcfg_pull_up>,
					<3 RK_PA3 RK_FUNC_GPIO &pcfg_pull_up>,
					<3 RK_PA4 RK_FUNC_GPIO &pcfg_pull_up>,
					<3 RK_PA5 RK_FUNC_GPIO &pcfg_pull_up>,
					<3 RK_PA6 RK_FUNC_GPIO &pcfg_pull_up>,
					<3 RK_PA0 RK_FUNC_GPIO &pcfg_pull_up>,
					<3 RK_PB1 RK_FUNC_GPIO &pcfg_pull_up>,
					<3 RK_PB2 RK_FUNC_GPIO &pcfg_pull_up>,
					<3 RK_PB3 RK_FUNC_GPIO &pcfg_pull_up>,
					<3 RK_PB4 RK_FUNC_GPIO &pcfg_pull_up>,
					<3 RK_PB5 RK_FUNC_GPIO &pcfg_pull_up>,
					<3 RK_PB6 RK_FUNC_GPIO &pcfg_pull_up>,
					<3 RK_PB7 RK_FUNC_GPIO &pcfg_pull_up>,
					<3 RK_PC0 RK_FUNC_GPIO &pcfg_pull_up>,
					<3 RK_PC1 RK_FUNC_GPIO &pcfg_pull_up>,
					<3 RK_PC2 RK_FUNC_GPIO &pcfg_pull_up>,
					//<4 RK_PA6 RK_FUNC_GPIO &pcfg_pull_up>,
					<3 RK_PC3 RK_FUNC_GPIO &pcfg_pull_up>;
		};
	};

	keys {
			pwr_key: pwr-key {
				rockchip,pins = 
					<3 RK_PB0 RK_FUNC_GPIO &pcfg_pull_up>,
					<3 RK_PA7 RK_FUNC_GPIO &pcfg_pull_up>;
			};
	};	
	
};
